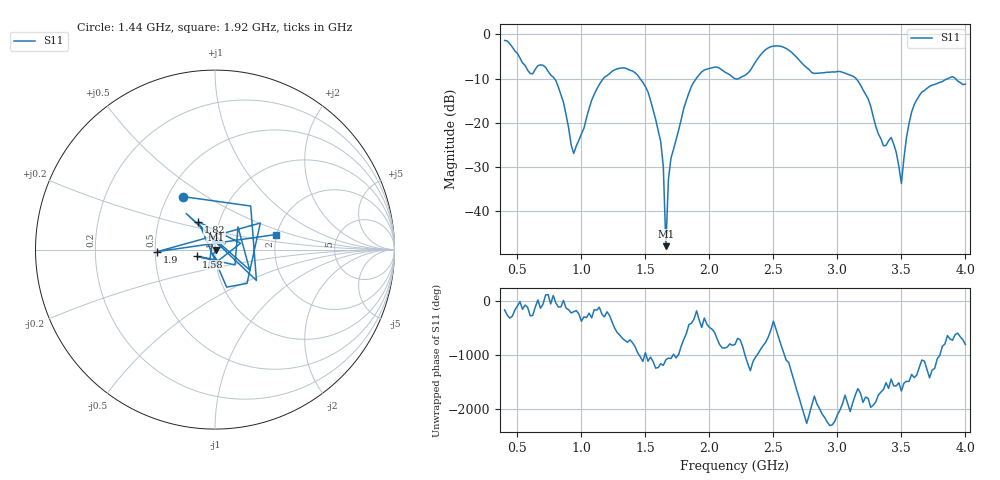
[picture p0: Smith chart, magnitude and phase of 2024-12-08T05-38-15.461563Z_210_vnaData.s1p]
!Created with skrf (http://scikit-rf.org).
# Hz S RI R 50.0
!freq ReS11 ImS11
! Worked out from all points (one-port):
!   181 points, 400 MHz to 4 GHz, reference 50 ohm
!   lowest |S11| = -47.8 dB at 1.66 GHz (marker M1), VSWR 1.01, Z = 50.4 - j0.0271 ohm
!   |S11| at or under -10 dB: 789.9 MHz to 1.171 GHz (381 MHz wide, 38.9 % of centre); 1.458 GHz to 1.896 GHz (437.9 MHz wide, 26.1 % of centre); 3.146 GHz to 3.862 GHz (715.6 MHz wide, 20.4 % of centre) (the widest 3 of 5)
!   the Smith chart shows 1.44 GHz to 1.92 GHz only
!   S11 on the Smith chart (normalised r, x): 1.44 GHz: 0.60, +0.40; 1.58 GHz: 0.81, -0.06; 1.82 GHz: 0.80, +0.25; 1.9 GHz: 0.51, -0.01; 1.92 GHz: 1.98, +0.38
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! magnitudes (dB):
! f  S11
! 400 MHz  -1.4
! 600 MHz  -8.8
! 720 MHz  -7.4
! 860 MHz  -15.4
! 940 MHz  -26.9
! 1.12 GHz  -12.4
! 1.3 GHz  -7.6
! 1.44 GHz  -9.2
! 1.58 GHz  -19.2
! 1.64 GHz  -29.9
! 1.66 GHz  -47.8
! 1.68 GHz  -32.7
! 1.76 GHz  -21.6
! 1.82 GHz  -14.9
! 1.9 GHz  -9.9
! 1.92 GHz  -9.1
! 2.2 GHz  -10.0
! 2.48 GHz  -2.8
! 2.66 GHz  -4.5
! 2.8 GHz  -8.6
! 3.1 GHz  -9.2
! 3.24 GHz  -14.5
! 3.36 GHz  -25.2
! 3.42 GHz  -23.3
! 3.5 GHz  -33.7
! 3.56 GHz  -20.1
! 3.72 GHz  -11.7
! 4 GHz  -11.2
